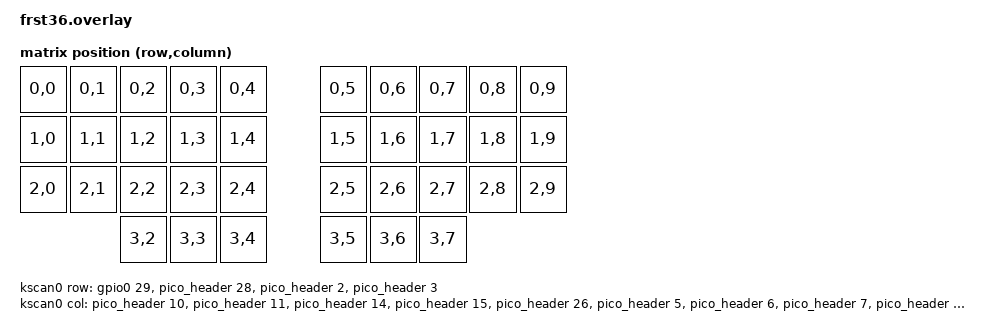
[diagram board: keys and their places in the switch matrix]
/*
 * Copyright (c) 2025 Jon Sharp
 * Co-authored by Claude (Anthropic)
 * SPDX-License-Identifier: MIT
 *
 * FRST 36-key keyboard shield for RP2040 (Waveshare RP2040-Zero / rpi_pico)
 * Wired keyboard with 9P filesystem interface over UART to ESP32-S3 terminal
 */

#include <dt-bindings/zmk/matrix_transform.h>

/ {
    chosen {
        zmk,kscan = &kscan0;
        zmk,matrix-transform = &default_transform;
        zephyr,console = &uart1;
    };

    /*
     * Matrix transform for 36-key layout
     * 3 rows of 5 keys per side (30) + 3 thumb keys per side (6) = 36 total
     *
     * Physical layout:
     * | Q | W | E | R | T |   | Y | U | I | O | P |
     * | A | S | D | F | G |   | H | J | K | L | ; |
     * | Z | X | C | V | B |   | N | M | , | . | / |
     *         |CTL|BSP|SPC|   |ENT|DEL|ALT|
     *
     * Matrix wiring (4 rows x 10 columns):
     * Row 0: Q  W  E  R  T  Y  U  I  O  P
     * Row 1: A  S  D  F  G  H  J  K  L  ;
     * Row 2: Z  X  C  V  B  N  M  ,  .  /
     * Row 3: -  -  CTL BSP SPC ENT DEL ALT -  -
     */
    default_transform: keymap_transform_0 {
        compatible = "zmk,matrix-transform";
        columns = <10>;
        rows = <4>;
        map = <
RC(0,0) RC(0,1) RC(0,2) RC(0,3) RC(0,4)    RC(0,5) RC(0,6) RC(0,7) RC(0,8) RC(0,9)
RC(1,0) RC(1,1) RC(1,2) RC(1,3) RC(1,4)    RC(1,5) RC(1,6) RC(1,7) RC(1,8) RC(1,9)
RC(2,0) RC(2,1) RC(2,2) RC(2,3) RC(2,4)    RC(2,5) RC(2,6) RC(2,7) RC(2,8) RC(2,9)
                RC(3,2) RC(3,3) RC(3,4)    RC(3,5) RC(3,6) RC(3,7)
        >;
    };

    /*
     * Key matrix scan configuration
     * Uses pico_header connector for GPIO access
     *
     * Rows: GP29, GP28, GP2, GP3 (active high with pull-down)
     * Cols: GP10, GP11, GP14, GP15, GP26, GP5, GP6, GP7, GP8, GP9 (active high)
     *
     * Note: diode-direction is col2row (diodes from column to row)
     */
    kscan0: kscan {
        compatible = "zmk,kscan-gpio-matrix";
        wakeup-source;
        diode-direction = "col2row";
        debounce-press-ms = <10>;
        debounce-release-ms = <10>;

        row-gpios
            = <&gpio0 29 (GPIO_ACTIVE_HIGH | GPIO_PULL_DOWN)>
            , <&pico_header 28 (GPIO_ACTIVE_HIGH | GPIO_PULL_DOWN)>
            , <&pico_header 2 (GPIO_ACTIVE_HIGH | GPIO_PULL_DOWN)>
            , <&pico_header 3 (GPIO_ACTIVE_HIGH | GPIO_PULL_DOWN)>
            ;

        col-gpios
            = <&pico_header 10 GPIO_ACTIVE_HIGH>
            , <&pico_header 11 GPIO_ACTIVE_HIGH>
            , <&pico_header 14 GPIO_ACTIVE_HIGH>
            , <&pico_header 15 GPIO_ACTIVE_HIGH>
            , <&pico_header 26 GPIO_ACTIVE_HIGH>
            , <&pico_header 5 GPIO_ACTIVE_HIGH>
            , <&pico_header 6 GPIO_ACTIVE_HIGH>
            , <&pico_header 7 GPIO_ACTIVE_HIGH>
            , <&pico_header 8 GPIO_ACTIVE_HIGH>
            , <&pico_header 9 GPIO_ACTIVE_HIGH>
            ;
    };
};

/*
 * UART0 on GP0 (TX) / GP1 (RX) for 9P protocol
 * Phase 2: Echo test, Phase 3+: Full 9P server
 */
&uart0 {
    status = "okay";
    current-speed = <115200>;
};

/*
 * UART1 on GP4 (TX only) for debug console
 * Connect USB-UART adapter RX to GP4, share GND
 */
&pinctrl {
    uart1_default: uart1_default {
        group1 {
            pinmux = <UART1_TX_P4>;
        };
    };
};

&uart1 {
    status = "okay";
    current-speed = <115200>;
    pinctrl-0 = <&uart1_default>;
    pinctrl-names = "default";
};
